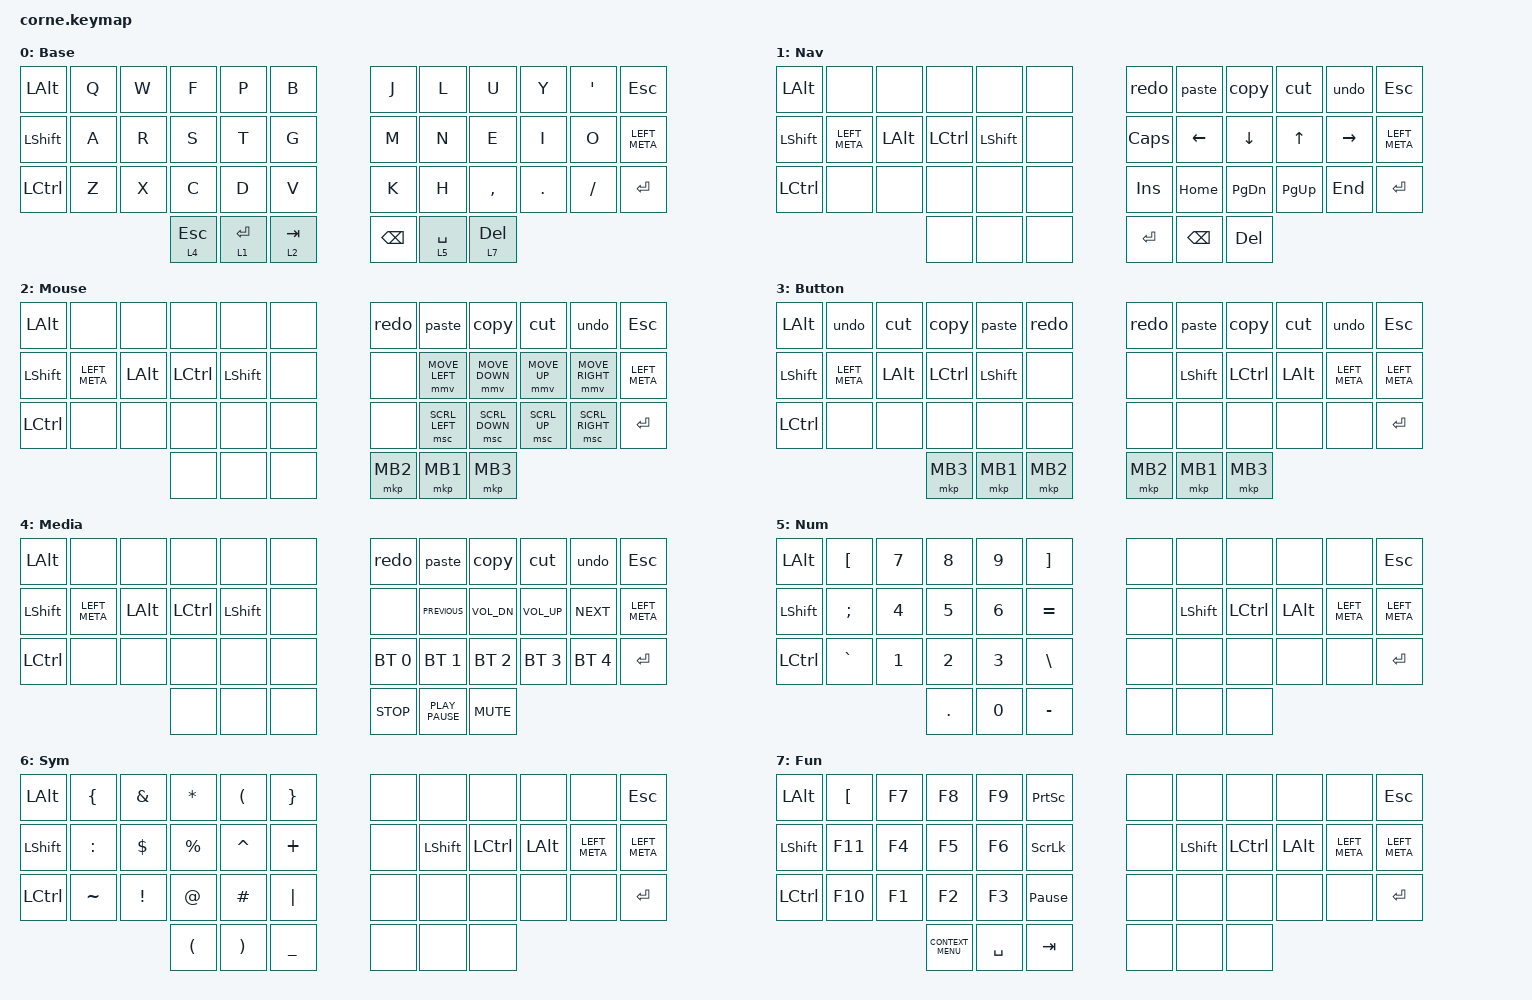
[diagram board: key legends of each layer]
/*
 * Copyright (c) 2020 The ZMK Contributors
 *
 * SPDX-License-Identifier: MIT
 */

#include <behaviors.dtsi>
#include <dt-bindings/zmk/bt.h>
#include <dt-bindings/zmk/keys.h>
#include <dt-bindings/zmk/pointing.h>

/ {
    behaviors {
        mt: mod_tap {
            compatible = "zmk,behavior-hold-tap";
            label = "MOD_TAP";
            #binding-cells = <2>;
            flavor = "balanced";
            tapping-term-ms = <200>;
            quick-tap-ms = <125>;
            bindings = <&kp>, <&kp>;
        };

        lt: layer_tap {
            compatible = "zmk,behavior-hold-tap";
            label = "LAYER_TAP";
            #binding-cells = <2>;
            flavor = "tap-preferred";
            tapping-term-ms = <180>;
            quick-tap-ms = <125>;
            require-prior-idle-ms = <100>;
            bindings = <&mo>, <&kp>;
        };
    };

    macros {
        copy: new_macro {
            compatible = "zmk,behavior-macro";
            #binding-cells = <0>;
            bindings = <&kp LC(C)>;
            label = "NEW_MACRO";
        };

        paste: paste {
            compatible = "zmk,behavior-macro";
            #binding-cells = <0>;
            bindings = <&kp LC(V)>;
            label = "PASTE";
        };

        cut: cut {
            compatible = "zmk,behavior-macro";
            #binding-cells = <0>;
            bindings = <&kp LC(X)>;
            label = "CUT";
        };

        undo: undo {
            compatible = "zmk,behavior-macro";
            #binding-cells = <0>;
            bindings = <&kp LC(Z)>;
            label = "UNDO";
        };

        redo: redo {
            compatible = "zmk,behavior-macro";
            #binding-cells = <0>;
            bindings = <&kp LC(Y)>;
            label = "REDO";
        };
    };

    keymap {
        compatible = "zmk,keymap";

        default_layer {
            // -----------------------------------------------------------------------------------------
            // |  TAB |  Q  |  W  |  E  |  R  |  T  |   |  Y  |  U   |  I  |  O  |  P  | BKSP |
            // | CTRL |  A  |  S  |  D  |  F  |  G  |   |  H  |  J   |  K  |  L  |  ;  |  '   |
            // | SHFT |  Z  |  X  |  C  |  V  |  B  |   |  N  |  M   |  ,  |  .  |  /  | ESC  |
            //                    | GUI | LWR | SPC |   | ENT | RSE  | ALT |

            display-name = "Base";
            bindings = <
&kp LEFT_ALT      &kp Q  &kp W  &kp F         &kp P        &kp B        &kp J          &kp L        &kp U         &kp Y    &kp SQT   &kp ESCAPE
&kp LEFT_SHIFT    &kp A  &kp R  &kp S         &kp T        &kp G        &kp M          &kp N        &kp E         &kp I    &kp O     &kp LEFT_META
&kp LEFT_CONTROL  &kp Z  &kp X  &kp C         &kp D        &kp V        &kp K          &kp H        &kp COMMA     &kp DOT  &kp FSLH  &kp RETURN
                                &lt 4 ESCAPE  &lt 1 ENTER  &lt 2 TAB    &kp BACKSPACE  &lt 5 SPACE  &lt 7 DELETE
            >;
        };

        nav_layer {
            // -----------------------------------------------------------------------------------------
            // |  TAB |  1  |  2  |  3  |  4  |  5  |   |  6  |  7  |  8  |  9  |  0  | BKSP |
            // | BTCLR| BT1 | BT2 | BT3 | BT4 | BT5 |   | LFT | DWN |  UP | RGT |     |      |
            // | SHFT |     |     |     |     |     |   |     |     |     |     |     |      |
            //                    | GUI |     | SPC |   | ENT |     | ALT |

            display-name = "Nav";
            bindings = <
&kp LEFT_ALT    &none          &none         &none      &none           &none    &redo         &paste         &copy          &cut          &undo      &kp ESCAPE
&kp LEFT_SHIFT  &kp LEFT_META  &kp LEFT_ALT  &kp LCTRL  &kp LEFT_SHIFT  &none    &kp CAPSLOCK  &kp LEFT       &kp DOWN       &kp UP_ARROW  &kp RIGHT  &kp LEFT_META
&kp LCTRL       &none          &none         &none      &none           &none    &kp INSERT    &kp HOME       &kp PAGE_DOWN  &kp PAGE_UP   &kp END    &kp RETURN
                                             &none      &none           &none    &kp RET       &kp BACKSPACE  &kp DELETE
            >;
        };

        mouse_layer {
            // -----------------------------------------------------------------------------------------
            // |  TAB |  1  |  2  |  3  |  4  |  5  |   |  6  |  7  |  8  |  9  |  0  | BKSP |
            // | BTCLR| BT1 | BT2 | BT3 | BT4 | BT5 |   | LFT | DWN |  UP | RGT |     |      |
            // | SHFT |     |     |     |     |     |   |     |     |     |     |     |      |
            //                    | GUI |     | SPC |   | ENT |     | ALT |

            display-name = "Mouse";
            bindings = <
&kp LEFT_ALT    &none          &none         &none      &none           &none    &redo     &paste          &copy           &cut          &undo            &kp ESCAPE
&kp LEFT_SHIFT  &kp LEFT_META  &kp LEFT_ALT  &kp LCTRL  &kp LEFT_SHIFT  &none    &none     &mmv MOVE_LEFT  &mmv MOVE_DOWN  &mmv MOVE_UP  &mmv MOVE_RIGHT  &kp LEFT_META
&kp LCTRL       &none          &none         &none      &none           &none    &none     &msc SCRL_LEFT  &msc SCRL_DOWN  &msc SCRL_UP  &msc SCRL_RIGHT  &kp RETURN
                                             &none      &none           &none    &mkp MB2  &mkp MB1        &mkp MB3
            >;
        };

        button_layer {
            // -----------------------------------------------------------------------------------------
            // |  TAB |  1  |  2  |  3  |  4  |  5  |   |  6  |  7  |  8  |  9  |  0  | BKSP |
            // | BTCLR| BT1 | BT2 | BT3 | BT4 | BT5 |   | LFT | DWN |  UP | RGT |     |      |
            // | SHFT |     |     |     |     |     |   |     |     |     |     |     |      |
            //                    | GUI |     | SPC |   | ENT |     | ALT |

            display-name = "Button";
            bindings = <
&kp LEFT_ALT    &undo          &cut          &copy      &paste          &redo       &redo     &paste          &copy             &cut          &undo          &kp ESCAPE
&kp LEFT_SHIFT  &kp LEFT_META  &kp LEFT_ALT  &kp LCTRL  &kp LEFT_SHIFT  &none       &none     &kp LEFT_SHIFT  &kp LEFT_CONTROL  &kp LEFT_ALT  &kp LEFT_META  &kp LEFT_META
&kp LCTRL       &none          &none         &none      &none           &none       &none     &none           &none             &none         &none          &kp RETURN
                                             &mkp MB3   &mkp MB1        &mkp MB2    &mkp MB2  &mkp MB1        &mkp MB3
            >;
        };

        media_layer {
            // -----------------------------------------------------------------------------------------
            // |  TAB |  1  |  2  |  3  |  4  |  5  |   |  6  |  7  |  8  |  9  |  0  | BKSP |
            // | BTCLR| BT1 | BT2 | BT3 | BT4 | BT5 |   | LFT | DWN |  UP | RGT |     |      |
            // | SHFT |     |     |     |     |     |   |     |     |     |     |     |      |
            //                    | GUI |     | SPC |   | ENT |     | ALT |

            display-name = "Media";
            bindings = <
&kp LEFT_ALT    &none          &none         &none      &none           &none    &redo         &paste            &copy         &cut          &undo         &kp ESCAPE
&kp LEFT_SHIFT  &kp LEFT_META  &kp LEFT_ALT  &kp LCTRL  &kp LEFT_SHIFT  &none    &none         &kp K_PREVIOUS    &kp K_VOL_DN  &kp K_VOL_UP  &kp K_NEXT    &kp LEFT_META
&kp LCTRL       &none          &none         &none      &none           &none    &bt BT_SEL 0  &bt BT_SEL 1      &bt BT_SEL 2  &bt BT_SEL 3  &bt BT_SEL 4  &kp RETURN
                                             &none      &none           &none    &kp K_STOP    &kp K_PLAY_PAUSE  &kp K_MUTE
            >;
        };

        num_layer {
            // -----------------------------------------------------------------------------------------
            // |  TAB |  1  |  2  |  3  |  4  |  5  |   |  6  |  7  |  8  |  9  |  0  | BKSP |
            // | BTCLR| BT1 | BT2 | BT3 | BT4 | BT5 |   | LFT | DWN |  UP | RGT |     |      |
            // | SHFT |     |     |     |     |     |   |     |     |     |     |     |      |
            //                    | GUI |     | SPC |   | ENT |     | ALT |

            display-name = "Num";
            bindings = <
&kp LEFT_ALT    &kp LEFT_BRACKET  &kp N7        &kp N8        &kp N9        &kp RIGHT_BRACKET    &none  &none           &none      &none         &none          &kp ESCAPE
&kp LEFT_SHIFT  &kp SEMICOLON     &kp NUMBER_4  &kp N5        &kp NUMBER_6  &kp EQUAL            &none  &kp LEFT_SHIFT  &kp LCTRL  &kp LEFT_ALT  &kp LEFT_META  &kp LEFT_META
&kp LCTRL       &kp GRAVE         &kp NUMBER_1  &kp NUMBER_2  &kp NUMBER_3  &kp BACKSLASH        &none  &none           &none      &none         &none          &kp RETURN
                                                &kp PERIOD    &kp N0        &kp MINUS            &none  &none           &none
            >;
        };

        sym_layer {
            // -----------------------------------------------------------------------------------------
            // |  TAB |  1  |  2  |  3  |  4  |  5  |   |  6  |  7  |  8  |  9  |  0  | BKSP |
            // | BTCLR| BT1 | BT2 | BT3 | BT4 | BT5 |   | LFT | DWN |  UP | RGT |     |      |
            // | SHFT |     |     |     |     |     |   |     |     |     |     |     |      |
            //                    | GUI |     | SPC |   | ENT |     | ALT |

            display-name = "Sym";
            bindings = <
&kp LEFT_ALT    &kp LEFT_BRACE  &kp AMPERSAND    &kp ASTERISK          &kp LEFT_PARENTHESIS   &kp RIGHT_BRACE    &none  &none           &none      &none         &none          &kp ESCAPE
&kp LEFT_SHIFT  &kp COLON       &kp DOLLAR       &kp PERCENT           &kp CARET              &kp PLUS           &none  &kp LEFT_SHIFT  &kp LCTRL  &kp LEFT_ALT  &kp LEFT_META  &kp LEFT_META
&kp LCTRL       &kp TILDE       &kp EXCLAMATION  &kp AT_SIGN           &kp HASH               &kp PIPE           &none  &none           &none      &none         &none          &kp RETURN
                                                 &kp LEFT_PARENTHESIS  &kp RIGHT_PARENTHESIS  &kp UNDER          &none  &none           &none
            >;
        };

        fun_layer {
            // -----------------------------------------------------------------------------------------
            // |  TAB |  1  |  2  |  3  |  4  |  5  |   |  6  |  7  |  8  |  9  |  0  | BKSP |
            // | BTCLR| BT1 | BT2 | BT3 | BT4 | BT5 |   | LFT | DWN |  UP | RGT |     |      |
            // | SHFT |     |     |     |     |     |   |     |     |     |     |     |      |
            //                    | GUI |     | SPC |   | ENT |     | ALT |

            display-name = "Fun";
            bindings = <
&kp LEFT_ALT    &kp LEFT_BRACKET  &kp F7  &kp F8              &kp F9     &kp PRINTSCREEN    &none  &none           &none      &none         &none          &kp ESCAPE
&kp LEFT_SHIFT  &kp F11           &kp F4  &kp F5              &kp F6     &kp SCROLLLOCK     &none  &kp LEFT_SHIFT  &kp LCTRL  &kp LEFT_ALT  &kp LEFT_META  &kp LEFT_META
&kp LCTRL       &kp F10           &kp F1  &kp F2              &kp F3     &kp PAUSE_BREAK    &none  &none           &none      &none         &none          &kp RETURN
                                          &kp K_CONTEXT_MENU  &kp SPACE  &kp TAB            &none  &none           &none
            >;
        };
    };
};
